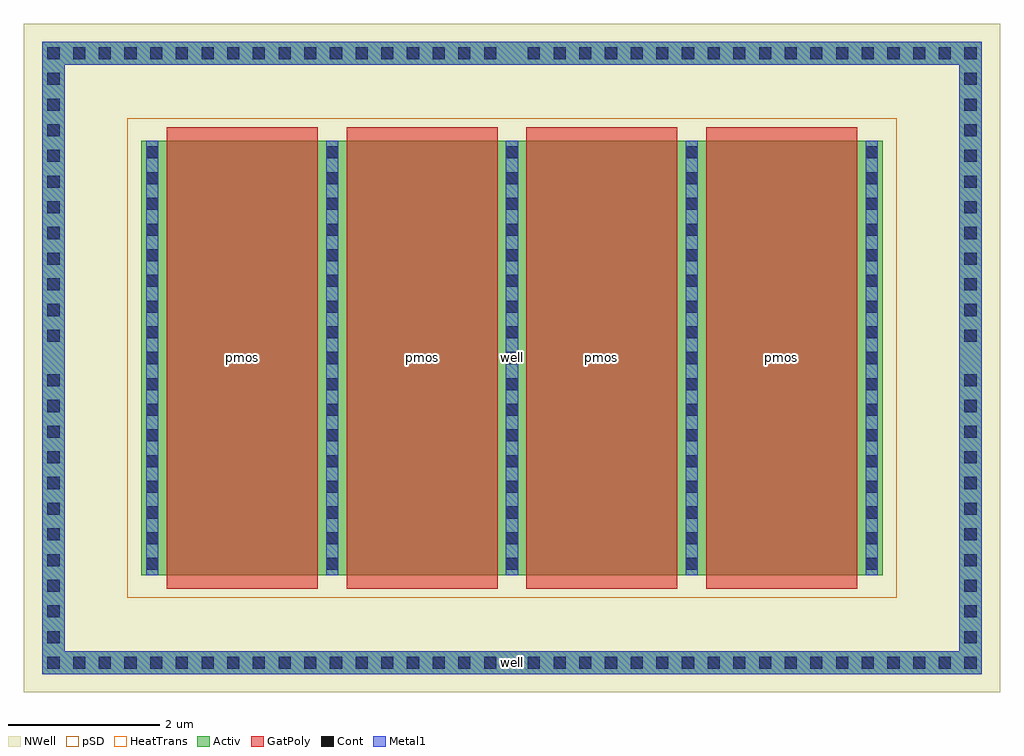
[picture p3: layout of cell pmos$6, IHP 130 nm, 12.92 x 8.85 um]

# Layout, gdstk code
import gdstk
lib = gdstk.Library(unit=1e-6, precision=1e-09)
def R(c, l, rs):  # rectangles x0, y0, x1, y1
    for r in rs: c.add(gdstk.rectangle(r[:2], r[2:], *l))
def A(c, l, x, y, w, h, nx, ny, dx, dy):  # array of equal rectangles
    R(c, l, [(x+i*dx, y+j*dy, x+i*dx+w, y+j*dy+h) for i in range(nx) for j in range(ny)])
def P(c, l, *ps):  # polygons
    for p in ps: c.add(gdstk.Polygon(p, *l))
Activ = (1, 0)
GatPoly = (5, 0)
Cont = (6, 0)
Metal1 = (8, 0)
pSD = (14, 0)
NWell = (31, 0)
HeatTrans = (51, 0)

pmos_6 = lib.new_cell('pmos$6')
A(pmos_6, Activ, 0, 0, 0.3, 0.3, 5, 1, 2.38, 0)
R(pmos_6, Activ, [(0,0,9.82,5.75)])
P(pmos_6, Activ, [(-1.31,-1.31),(-1.31,6.76),(-1.01,6.76),(-1.01,-1.01),(10.83,-1.01),(10.83,6.76),(-1.31,6.76),(-1.31,7.06),(11.13,7.06),(11.13,-1.31)])
A(pmos_6, GatPoly, 0.34, -0.18, 2, 6.11, 4, 1, 2.38, 0)
R(pmos_6, GatPoly, [(0.34,-0.18,2.34,5.93)])
A(pmos_6, Cont, -1.24, -1.24, 0.16, 0.16, 18, 2, 0.34, 8.07)
A(pmos_6, Cont, 5.12, -1.24, 0.16, 0.16, 18, 2, 0.34, 8.07)
A(pmos_6, Cont, -1.24, -0.9, 0.16, 0.16, 1, 11, 0, 0.34)
A(pmos_6, Cont, 10.9, -0.9, 0.16, 0.16, 1, 11, 0, 0.34)
A(pmos_6, Cont, 0.07, 0.07, 0.16, 0.16, 5, 8, 2.38, 0.34)
A(pmos_6, Cont, 0.07, 2.795, 0.16, 0.16, 5, 8, 2.38, 0.34)
A(pmos_6, Cont, -1.24, 3.09, 0.16, 0.16, 1, 11, 0, 0.34)
A(pmos_6, Cont, 10.9, 3.09, 0.16, 0.16, 1, 11, 0, 0.34)
A(pmos_6, Cont, 0.07, 5.52, 0.16, 0.16, 5, 1, 2.38, 0)
A(pmos_6, Metal1, 2.45, 0, 0.16, 5.75, 4, 1, 2.38, 0)
R(pmos_6, Metal1, [(-1.31,-1.31,11.13,-1.01), (-1.31,-1.01,-1.01,6.76), (10.83,-1.01,11.13,6.76), (0.07,0,0.23,5.75), (0.07,0,0.23,5.75), (2.45,0,2.61,5.75), (-1.31,6.76,11.13,7.06)])
R(pmos_6, pSD, [(-0.18,-0.3,10,6.05)])
R(pmos_6, NWell, [(-1.55,-1.55,11.37,7.3), (-0.31,-0.31,10.13,6.06)])
A(pmos_6, HeatTrans, 0.34, -0.18, 2, 6.11, 4, 1, 2.38, 0)
pmos_6.add(gdstk.Label('well', (4.91,2.875), layer=31, texttype=0))
pmos_6.add(gdstk.Label('pmos', (1.34,2.875), layer=63, texttype=0))
pmos_6.add(gdstk.Label('well', (4.91,-1.16), layer=63, texttype=0))
pmos_6.add(gdstk.Label('pmos', (1.34,2.875), layer=51, texttype=0))
pmos_6.add(gdstk.Label('pmos', (3.72,2.875), layer=51, texttype=0))
pmos_6.add(gdstk.Label('pmos', (6.1,2.875), layer=51, texttype=0))
pmos_6.add(gdstk.Label('pmos', (8.48,2.875), layer=51, texttype=0))

lib.write_gds('pmos_6.gds')
